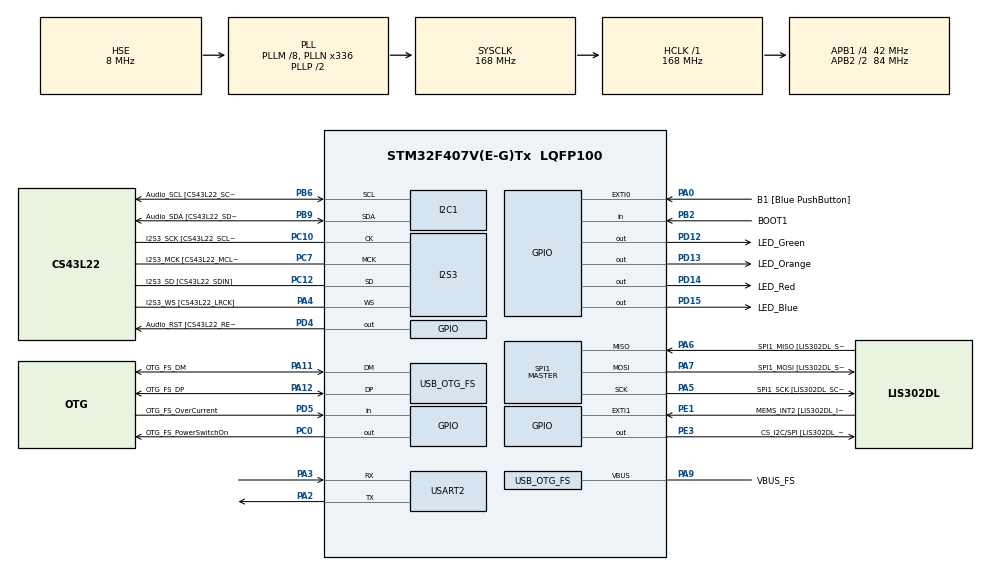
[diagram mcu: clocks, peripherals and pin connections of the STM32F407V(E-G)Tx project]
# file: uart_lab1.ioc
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I2S3.AudioFreq-Half_Duplex_Master=I2S_AUDIOFREQ_96K
I2S3.ErrorAudioFreq=-2.34 %
I2S3.ErrorAudioFreq-Half_Duplex_Master=0.8 %
I2S3.FullDuplexMode=I2S_FULLDUPLEXMODE_DISABLE
I2S3.Instance=SPI$Index
I2S3.RealAudioFreq=93.75 KHz
I2S3.RealAudioFreq-Half_Duplex_Master=96.774 KHz
I2S3.VirtualMode=I2S_MODE_MASTER
Mcu.Family=STM32F4
Mcu.Name=STM32F407V(E-G)Tx
Mcu.Package=LQFP100
NVIC.OTG_FS_IRQn=true\:0\:0\:false\:false\:true\:true\:true
NVIC.PriorityGroup=NVIC_PRIORITYGROUP_0
NVIC.TIM1_UP_TIM10_IRQn=true\:0\:0\:false\:false\:true\:true\:true
NVIC.USART2_IRQn=true\:0\:0\:false\:false\:true\:true\:true
PA0-WKUP.GPIO_Label=B1 [Blue PushButton]
PA0-WKUP.GPIO_ModeDefaultEXTI=GPIO_MODE_EVT_RISING
PA0-WKUP.GPIO_PuPd=GPIO_NOPULL
PA0-WKUP.Signal=GPXTI0
PA10.GPIO_Label=OTG_FS_ID
PA10.GPIO_Mode=GPIO_MODE_AF_PP
PA10.GPIO_PuPd=GPIO_NOPULL
PA10.GPIO_Speed=GPIO_SPEED_FREQ_LOW
PA10.Signal=USB_OTG_FS_ID
PA11.GPIO_Label=OTG_FS_DM
PA11.GPIO_Mode=GPIO_MODE_AF_PP
PA11.GPIO_PuPd=GPIO_NOPULL
PA11.GPIO_Speed=GPIO_SPEED_FREQ_LOW
PA11.Mode=Host_Only
PA11.Signal=USB_OTG_FS_DM
PA12.GPIO_Label=OTG_FS_DP
PA12.GPIO_Mode=GPIO_MODE_AF_PP
PA12.GPIO_PuPd=GPIO_NOPULL
PA12.GPIO_Speed=GPIO_SPEED_FREQ_LOW
PA12.Mode=Host_Only
PA12.Signal=USB_OTG_FS_DP
PA13.GPIO_Label=SWDIO
PA13.Mode=Serial_Wire
PA13.Signal=SYS_JTMS-SWDIO
PA14.GPIO_Label=SWCLK
PA14.Mode=Serial_Wire
PA14.Signal=SYS_JTCK-SWCLK
PA2.Mode=Asynchronous
PA2.Signal=USART2_TX
PA3.Mode=Asynchronous
PA3.Signal=USART2_RX
PA4.GPIO_Label=I2S3_WS [CS43L22_LRCK]
PA4.GPIO_Mode=GPIO_MODE_AF_PP
PA4.GPIO_PuPd=GPIO_NOPULL
PA4.GPIO_Speed=GPIO_SPEED_FREQ_LOW
PA4.Mode=Half_Duplex_Master
PA4.Signal=I2S3_WS
PA5.GPIO_Label=SPI1_SCK [LIS302DL_SCL/SPC]
PA5.GPIO_Mode=GPIO_MODE_AF_PP
PA5.GPIO_PuPd=GPIO_NOPULL
PA5.GPIO_Speed=GPIO_SPEED_FREQ_LOW
PA5.Mode=Full_Duplex_Master
PA5.Signal=SPI1_SCK
PA6.GPIO_Label=SPI1_MISO [LIS302DL_SDO]
PA6.GPIO_Mode=GPIO_MODE_AF_PP
PA6.GPIO_PuPd=GPIO_NOPULL
PA6.GPIO_Speed=GPIO_SPEED_FREQ_LOW
PA6.Mode=Full_Duplex_Master
PA6.Signal=SPI1_MISO
PA7.GPIO_Label=SPI1_MOSI [LIS302DL_SDA/SDI/SDO]
PA7.GPIO_Mode=GPIO_MODE_AF_PP
PA7.GPIO_PuPd=GPIO_NOPULL
PA7.GPIO_Speed=GPIO_SPEED_FREQ_LOW
PA7.Mode=Full_Duplex_Master
PA7.Signal=SPI1_MOSI
PA9.GPIO_Label=VBUS_FS
PA9.GPIO_Mode=GPIO_MODE_INPUT
PA9.GPIO_PuPd=GPIO_NOPULL
PA9.Mode=Activate_VBUS
PA9.Signal=USB_OTG_FS_VBUS
PB10.GPIO_Label=CLK_IN [MP45DT02_CLK]
PB10.GPIO_Mode=GPIO_MODE_AF_PP
PB10.GPIO_PuPd=GPIO_NOPULL
PB10.GPIO_Speed=GPIO_SPEED_FREQ_LOW
PB10.Signal=I2S2_CK
PB2.GPIO_Label=BOOT1
PB2.GPIO_Mode=GPIO_MODE_INPUT
PB2.GPIO_PuPd=GPIO_NOPULL
PB2.Signal=GPIO_Input
PB3.GPIO_Label=SWO
PB3.Signal=SYS_JTDO-SWO
PB6.GPIO_Label=Audio_SCL [CS43L22_SCL]
PB6.GPIO_Mode=GPIO_MODE_AF_OD
PB6.GPIO_PuPd=GPIO_NOPULL
PB6.GPIO_Speed=GPIO_SPEED_FREQ_LOW
PB6.Mode=I2C
PB6.Signal=I2C1_SCL
PB9.GPIO_Label=Audio_SDA [CS43L22_SDA]
PB9.GPIO_Mode=GPIO_MODE_AF_OD
PB9.GPIO_PuPd=GPIO_NOPULL
PB9.GPIO_Speed=GPIO_SPEED_FREQ_LOW
PB9.Mode=I2C
PB9.Signal=I2C1_SDA
PC0.GPIO_Label=OTG_FS_PowerSwitchOn
PC0.GPIO_PuPd=GPIO_NOPULL
PC0.GPIO_Speed=GPIO_SPEED_FREQ_LOW
PC0.PinState=GPIO_PIN_SET
PC0.Signal=GPIO_Output
PC10.GPIO_Label=I2S3_SCK [CS43L22_SCLK]
PC10.GPIO_Mode=GPIO_MODE_AF_PP
PC10.GPIO_PuPd=GPIO_NOPULL
PC10.GPIO_Speed=GPIO_SPEED_FREQ_LOW
PC10.Mode=Half_Duplex_Master
PC10.Signal=I2S3_CK
PC12.GPIO_Label=I2S3_SD [CS43L22_SDIN]
PC12.GPIO_Mode=GPIO_MODE_AF_PP
PC12.GPIO_PuPd=GPIO_NOPULL
PC12.GPIO_Speed=GPIO_SPEED_FREQ_LOW
PC12.Mode=Half_Duplex_Master
PC12.Signal=I2S3_SD
PC14-OSC32_IN.GPIO_Label=PC14-OSC32_IN
PC14-OSC32_IN.Mode=LSE-External-Oscillator
PC14-OSC32_IN.Signal=RCC_OSC32_IN
PC15-OSC32_OUT.GPIO_Label=PC15-OSC32_OUT
PC15-OSC32_OUT.Mode=LSE-External-Oscillator
PC15-OSC32_OUT.Signal=RCC_OSC32_OUT
PC3.GPIO_Label=PDM_OUT [MP45DT02_DOUT]
PC3.GPIO_Mode=GPIO_MODE_AF_PP
PC3.GPIO_PuPd=GPIO_NOPULL
PC3.GPIO_Speed=GPIO_SPEED_FREQ_LOW
PC3.Signal=I2S2_SD
PC7.GPIO_Label=I2S3_MCK [CS43L22_MCLK]
PC7.GPIO_Mode=GPIO_MODE_AF_PP
PC7.GPIO_PuPd=GPIO_NOPULL
PC7.GPIO_Speed=GPIO_SPEED_FREQ_LOW
PC7.Mode=Master_Clock_Activated
PC7.Signal=I2S3_MCK
PD12.GPIO_Label=LED_Green
PD12.GPIO_PuPd=GPIO_NOPULL
PD12.GPIO_Speed=GPIO_SPEED_FREQ_LOW
PD12.Signal=GPIO_Output
PD13.GPIO_Label=LED_Orange
PD13.GPIO_PuPd=GPIO_NOPULL
PD13.GPIO_Speed=GPIO_SPEED_FREQ_LOW
PD13.Signal=GPIO_Output
PD14.GPIO_Label=LED_Red
PD14.GPIO_PuPd=GPIO_NOPULL
PD14.GPIO_Speed=GPIO_SPEED_FREQ_LOW
PD14.Signal=GPIO_Output
PD15.GPIO_Label=LED_Blue
PD15.Signal=GPIO_Output
PD4.GPIO_Label=Audio_RST [CS43L22_RESET]
PD4.GPIO_PuPd=GPIO_NOPULL
PD4.GPIO_Speed=GPIO_SPEED_FREQ_LOW
PD4.Signal=GPIO_Output
PD5.GPIO_Label=OTG_FS_OverCurrent
PD5.GPIO_Mode=GPIO_MODE_INPUT
PD5.GPIO_PuPd=GPIO_NOPULL
PD5.Signal=GPIO_Input
PE1.GPIO_Label=MEMS_INT2 [LIS302DL_INT2]
PE1.GPIO_ModeDefaultEXTI=GPIO_MODE_EVT_RISING
PE1.GPIO_PuPd=GPIO_NOPULL
PE1.Signal=GPXTI1
PE3.GPIO_Label=CS_I2C/SPI [LIS302DL_CS_I2C/SPI]
PE3.GPIO_PuPd=GPIO_NOPULL
PE3.GPIO_Speed=GPIO_SPEED_FREQ_LOW
PE3.Signal=GPIO_Output
PH0-OSC_IN.GPIO_Label=PH0-OSC_IN
PH0-OSC_IN.Mode=HSE-External-Oscillator
PH0-OSC_IN.Signal=RCC_OSC_IN
PH1-OSC_OUT.GPIO_Label=PH1-OSC_OUT
PH1-OSC_OUT.Mode=HSE-External-Oscillator
PH1-OSC_OUT.Signal=RCC_OSC_OUT
ProjectManager.HeapSize=0x200
ProjectManager.StackSize=0x400
ProjectManager.TargetToolchain=STM32CubeIDE
RCC.48MHZClocksFreq_Value=48000000
RCC.AHBFreq_Value=168000000
RCC.APB1CLKDivider=RCC_HCLK_DIV4
RCC.APB1Freq_Value=42000000
RCC.APB1TimFreq_Value=84000000
RCC.APB2CLKDivider=RCC_HCLK_DIV2
RCC.APB2Freq_Value=84000000
RCC.APB2TimFreq_Value=168000000
RCC.CortexFreq_Value=168000000
RCC.HCLKFreq_Value=168000000
RCC.HSE_VALUE=8000000
RCC.HSI_VALUE=16000000
RCC.PLLM=8
RCC.PLLN=336
RCC.PLLQ=7
RCC.SYSCLKFreq_VALUE=168000000
RCC.SYSCLKSource=RCC_SYSCLKSOURCE_PLLCLK
RCC.VCOOutputFreq_Value=336000000
SPI1.BaudRatePrescaler-Full_Duplex_Master=SPI_BAUDRATEPRESCALER_2
SPI1.CalculateBaudRate-Full_Duplex_Master=42.0 MBits/s
SPI1.Direction=SPI_DIRECTION_2LINES
SPI1.Mode=SPI_MODE_MASTER
SPI1.Mode-Full_Duplex_Master=SPI_MODE_MASTER
SPI1.VirtualType=VM_MASTER
TIM10.AutoReloadPreload=TIM_AUTORELOAD_PRELOAD_ENABLE
TIM10.ClockDivision=TIM_CLOCKDIVISION_DIV4
TIM10.Period=33599
TIM10.Prescaler=999
USART2.VirtualMode=VM_ASYNC
USB_HOST.BSP.number=1
USB_HOST.USBH_HandleTypeDef-CDC_FS=hUsbHostFS
USB_HOST.VirtualModeFS=Cdc
USB_HOST0.BSP.STBoard=false
USB_HOST0.BSP.api=Unknown
USB_HOST0.BSP.i2caddr=0
USB_HOST0.BSP.i2creg=0
USB_HOST0.BSP.instance=PC0
USB_HOST0.BSP.ip=GPIO
USB_HOST0.BSP.mode=Output
USB_HOST0.BSP.name=Drive_VBUS_FS
USB_HOST0.BSP.solution=PC0
USB_OTG_FS.VirtualMode=Host_Only
USB_OTG_FS.phy_itface=HCD_PHY_EMBEDDED
VP_TIM10_VS_ClockSourceINT.Mode=Enable_Timer
VP_USB_HOST_VS_USB_HOST_CDC_FS.Mode=CDC_FS
board=STM32F407G-DISC1

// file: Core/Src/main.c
/* USER CODE BEGIN Header */
/**
  ******************************************************************************
  * @file           : main.c
  * @brief          : Main program body
  ******************************************************************************
  * @attention
  *
  * <h2><center>&copy; Copyright (c) 2021 STMicroelectronics.
  * All rights reserved.</center></h2>
  *
  * This software component is licensed by ST under Ultimate Liberty license
  * SLA0044, the "License"; You may not use this file except in compliance with
  * the License. You may obtain a copy of the License at:
  *                             www.st.com/SLA0044
  *
  ******************************************************************************
  */
/* USER CODE END Header */
#include "main.h"
#include "usb_host.h"

/* USER CODE BEGIN Includes */
#include <stdio.h>
#include <stdbool.h>
/* USER CODE END Includes */

I2C_HandleTypeDef hi2c1;

I2S_HandleTypeDef hi2s3;

SPI_HandleTypeDef hspi1;

TIM_HandleTypeDef htim10;

UART_HandleTypeDef huart2;

/* USER CODE BEGIN PV */
uint8_t timer_state=0;
uint8_t receive_flag=0;

//TX:
static uint16_t cnt = 0; // Licznik wyslanych wiadomosci
uint8_t data[200];// Tablica przechowujaca wysylana wiadomosc.
uint16_t size = 0; // Rozmiar wysylanej wiadomosci ++cnt; // Zwiekszenie licznika wyslanych wiadomosci.

//RX:
uint8_t Received[10];
uint8_t receive_data[150];

uint8_t data_buffer[10];
bool monitor_flag = false;

/* USER CODE END PV */

void SystemClock_Config(void);
static void MX_GPIO_Init(void);
static void MX_I2C1_Init(void);
static void MX_I2S3_Init(void);
static void MX_SPI1_Init(void);
static void MX_TIM10_Init(void);
static void MX_USART2_UART_Init(void);
void MX_USB_HOST_Process(void);

/* USER CODE BEGIN PFP */

void HAL_TIM_PeriodElapsedCallback(TIM_HandleTypeDef *htim){
	if(htim->Instance == TIM10){ // Jeżeli przerwanie pochodzi od timera 10
		timer_state=1;
	}
}

void HAL_UART_RxCpltCallback(UART_HandleTypeDef *huart) {

	receive_flag=1;

}

/* USER CODE END PFP */

int main(void)
{

  /* MCU Configuration--------------------------------------------------------*/

  /* Reset of all peripherals, Initializes the Flash interface and the Systick. */
  HAL_Init();

  /* Configure the system clock */
  SystemClock_Config();

  /* Initialize all configured peripherals */
  MX_GPIO_Init();
  MX_I2C1_Init();
  MX_I2S3_Init();
  MX_SPI1_Init();
  MX_USB_HOST_Init();
  MX_TIM10_Init();
  MX_USART2_UART_Init();
  /* USER CODE BEGIN 2 */
HAL_TIM_Base_Start_IT(&htim10);

HAL_UART_Receive_IT(&huart2, &Received, 1);

  /* USER CODE END 2 */

  /* Infinite loop */
  /* USER CODE BEGIN WHILE */
  while (1)
  {

	  if(timer_state==1)
	  {
			 ++cnt; // Zwiekszenie licznika wyslanych wiadomosci.
			 size = sprintf(data, "						message nr: %d.\n\r", cnt); // Stworzenie wiadomosci do wyslania oraz przypisanie ilosci wysylanych znakow do zmiennej size.
			 if(monitor_flag==true)
			 {
			 HAL_UART_Transmit_IT(&huart2, data, size); // Rozpoczecie nadawania danych z wykorzystaniem przerwan
			 }

			 HAL_GPIO_TogglePin(LED_Green_GPIO_Port, LED_Green_Pin); // Zmiana stanu pinu na diodzie LED
			 timer_state=0;
	  }

	  if(receive_flag==1)
	  {

		    static uint8_t i=0;
		  	uint16_t size = 0; // Rozmiar wysylanej wiadomosci

			//size = sprintf(receive_data, "%s",Received);
			if (Received[0] == 13 || Received[0]== 10)
			{
			size = sprintf(receive_data, "\n\r>>");
			i=0;

				if(data_buffer[0]=='h' && data_buffer[1]=='e' && data_buffer[2]=='l' && data_buffer[3]=='p')
				{
					size = sprintf(data,"\r\n s - show terminal monitor\r\n e - hide terminal monitor\r\n rlon - turns red led on\r\n rloff - turns led red off\r\n blon - turns blue led on\r\n bloff - turns blue led off\r\n olon - turns orange led on\r\n oloff - turns orange led off\r\n");
					HAL_UART_Transmit_IT(&huart2, data, size);

				}

				else if(data_buffer[0]=='r' && data_buffer[1]=='l' && data_buffer[2]=='o' && data_buffer[3]=='n')
				{
					HAL_GPIO_WritePin(LED_Red_GPIO_Port, LED_Red_Pin, SET);
					size = sprintf(data,"\r\nred led turned ON\r\n");
					HAL_UART_Transmit_IT(&huart2, data, size);

				}

				else if(data_buffer[0]=='r' && data_buffer[1]=='l' && data_buffer[2]=='o' && data_buffer[3]=='f' && data_buffer[4]=='f')
				{
					HAL_GPIO_WritePin(LED_Red_GPIO_Port, LED_Red_Pin, RESET);
					size = sprintf(data,"\r\nred led turned OFF\r\n");
					HAL_UART_Transmit_IT(&huart2, data, size);

				}

				else if(data_buffer[0]=='o' && data_buffer[1]=='l' && data_buffer[2]=='o' && data_buffer[3]=='n')
				{
					HAL_GPIO_WritePin(LED_Orange_GPIO_Port, LED_Orange_Pin, SET);
					size = sprintf(data,"\r\norange led turned ON\r\n");
					HAL_UART_Transmit_IT(&huart2, data, size);

				}

				else if(data_buffer[0]=='o' && data_buffer[1]=='l' && data_buffer[2]=='o' && data_buffer[3]=='f' && data_buffer[4]=='f')
				{
					HAL_GPIO_WritePin(LED_Orange_GPIO_Port, LED_Orange_Pin, RESET);
					size = sprintf(data,"\r\norange led turned OFF\r\n");
					HAL_UART_Transmit_IT(&huart2, data, size);

				}

				else if(data_buffer[0]=='b' && data_buffer[1]=='l' && data_buffer[2]=='o' && data_buffer[3]=='n')
				{
					HAL_GPIO_WritePin(LED_Blue_GPIO_Port, LED_Blue_Pin, SET);
					size = sprintf(data,"\r\nblue led turned ON\r\n");
					HAL_UART_Transmit_IT(&huart2, data, size);

				}

				else if(data_buffer[0]=='b' && data_buffer[1]=='l' && data_buffer[2]=='o' && data_buffer[3]=='f' && data_buffer[4]=='f')
				{
					HAL_GPIO_WritePin(LED_Blue_GPIO_Port, LED_Blue_Pin, RESET);
					size = sprintf(data,"\r\nblue led turned OFF\r\n");
					HAL_UART_Transmit_IT(&huart2, data, size);

				}
				else if(data_buffer[0]=='s' && data_buffer[1]== 0)
				{
					monitor_flag = true;

				}

				else if(data_buffer[0]=='e'&& data_buffer[1]== 0)
				{
					monitor_flag = false;

				}
				else
				{
					if(data_buffer[0]!=0)
					{
						size = sprintf(data,"\r\nWRONG COMMAND!!!\r\n");
						HAL_UART_Transmit_IT(&huart2, data, size);

					}
				}

				data_buffer[0]=0;
				data_buffer[1]=0;
				data_buffer[2]=0;
				data_buffer[3]=0;
				data_buffer[4]=0;
			}

			else
			{
			size = sprintf(receive_data, "%s",Received);

			data_buffer[i]=receive_data[0];
			i++;

			for(int j=0;j<i;j++)
			{
				if(data_buffer[j]==0x7f)
				{
				i=j-1;
				}

			}

			}

			HAL_UART_Transmit_IT(&huart2, receive_data, size); // Rozpoczecie nadawania danych z wykorzystaniem przerwan
			HAL_UART_Receive_IT(&huart2, &Received, 1); // Ponowne włączenie nasłuchiwania

			receive_flag=0;

	  }

    /* USER CODE END WHILE */
    MX_USB_HOST_Process();

  }
}

void SystemClock_Config(void)
{
  RCC_OscInitTypeDef RCC_OscInitStruct = {0};
  RCC_ClkInitTypeDef RCC_ClkInitStruct = {0};
  RCC_PeriphCLKInitTypeDef PeriphClkInitStruct = {0};

  /** Configure the main internal regulator output voltage
  */
  __HAL_RCC_PWR_CLK_ENABLE();
  __HAL_PWR_VOLTAGESCALING_CONFIG(PWR_REGULATOR_VOLTAGE_SCALE1);
  /** Initializes the RCC Oscillators according to the specified parameters
  * in the RCC_OscInitTypeDef structure.
  */
  RCC_OscInitStruct.OscillatorType = RCC_OSCILLATORTYPE_HSE;
  RCC_OscInitStruct.HSEState = RCC_HSE_ON;
  RCC_OscInitStruct.PLL.PLLState = RCC_PLL_ON;
  RCC_OscInitStruct.PLL.PLLSource = RCC_PLLSOURCE_HSE;
  RCC_OscInitStruct.PLL.PLLM = 8;
  RCC_OscInitStruct.PLL.PLLN = 336;
  RCC_OscInitStruct.PLL.PLLP = RCC_PLLP_DIV2;
  RCC_OscInitStruct.PLL.PLLQ = 7;
  if (HAL_RCC_OscConfig(&RCC_OscInitStruct) != HAL_OK)
  {
    Error_Handler();
  }
  /** Initializes the CPU, AHB and APB buses clocks
  */
  RCC_ClkInitStruct.ClockType = RCC_CLOCKTYPE_HCLK|RCC_CLOCKTYPE_SYSCLK
                              |RCC_CLOCKTYPE_PCLK1|RCC_CLOCKTYPE_PCLK2;
  RCC_ClkInitStruct.SYSCLKSource = RCC_SYSCLKSOURCE_PLLCLK;
  RCC_ClkInitStruct.AHBCLKDivider = RCC_SYSCLK_DIV1;
  RCC_ClkInitStruct.APB1CLKDivider = RCC_HCLK_DIV4;
  RCC_ClkInitStruct.APB2CLKDivider = RCC_HCLK_DIV2;

  if (HAL_RCC_ClockConfig(&RCC_ClkInitStruct, FLASH_LATENCY_5) != HAL_OK)
  {
    Error_Handler();
  }
  PeriphClkInitStruct.PeriphClockSelection = RCC_PERIPHCLK_I2S;
  PeriphClkInitStruct.PLLI2S.PLLI2SN = 192;
  PeriphClkInitStruct.PLLI2S.PLLI2SR = 2;
  if (HAL_RCCEx_PeriphCLKConfig(&PeriphClkInitStruct) != HAL_OK)
  {
    Error_Handler();
  }
}

static void MX_I2C1_Init(void)
{

  hi2c1.Instance = I2C1;
  hi2c1.Init.ClockSpeed = 100000;
  hi2c1.Init.DutyCycle = I2C_DUTYCYCLE_2;
  hi2c1.Init.OwnAddress1 = 0;
  hi2c1.Init.AddressingMode = I2C_ADDRESSINGMODE_7BIT;
  hi2c1.Init.DualAddressMode = I2C_DUALADDRESS_DISABLE;
  hi2c1.Init.OwnAddress2 = 0;
  hi2c1.Init.GeneralCallMode = I2C_GENERALCALL_DISABLE;
  hi2c1.Init.NoStretchMode = I2C_NOSTRETCH_DISABLE;
  if (HAL_I2C_Init(&hi2c1) != HAL_OK)
  {
    Error_Handler();
  }

}

static void MX_I2S3_Init(void)
{

  hi2s3.Instance = SPI3;
  hi2s3.Init.Mode = I2S_MODE_MASTER_TX;
  hi2s3.Init.Standard = I2S_STANDARD_PHILIPS;
  hi2s3.Init.DataFormat = I2S_DATAFORMAT_16B;
  hi2s3.Init.MCLKOutput = I2S_MCLKOUTPUT_ENABLE;
  hi2s3.Init.AudioFreq = I2S_AUDIOFREQ_96K;
  hi2s3.Init.CPOL = I2S_CPOL_LOW;
  hi2s3.Init.ClockSource = I2S_CLOCK_PLL;
  hi2s3.Init.FullDuplexMode = I2S_FULLDUPLEXMODE_DISABLE;
  if (HAL_I2S_Init(&hi2s3) != HAL_OK)
  {
    Error_Handler();
  }

}

static void MX_SPI1_Init(void)
{

  /* SPI1 parameter configuration*/
  hspi1.Instance = SPI1;
  hspi1.Init.Mode = SPI_MODE_MASTER;
  hspi1.Init.Direction = SPI_DIRECTION_2LINES;
  hspi1.Init.DataSize = SPI_DATASIZE_8BIT;
  hspi1.Init.CLKPolarity = SPI_POLARITY_LOW;
  hspi1.Init.CLKPhase = SPI_PHASE_1EDGE;
  hspi1.Init.NSS = SPI_NSS_SOFT;
  hspi1.Init.BaudRatePrescaler = SPI_BAUDRATEPRESCALER_2;
  hspi1.Init.FirstBit = SPI_FIRSTBIT_MSB;
  hspi1.Init.TIMode = SPI_TIMODE_DISABLE;
  hspi1.Init.CRCCalculation = SPI_CRCCALCULATION_DISABLE;
  hspi1.Init.CRCPolynomial = 10;
  if (HAL_SPI_Init(&hspi1) != HAL_OK)
  {
    Error_Handler();
  }

}

static void MX_TIM10_Init(void)
{

  htim10.Instance = TIM10;
  htim10.Init.Prescaler = 999;
  htim10.Init.CounterMode = TIM_COUNTERMODE_UP;
  htim10.Init.Period = 33599;
  htim10.Init.ClockDivision = TIM_CLOCKDIVISION_DIV4;
  htim10.Init.AutoReloadPreload = TIM_AUTORELOAD_PRELOAD_ENABLE;
  if (HAL_TIM_Base_Init(&htim10) != HAL_OK)
  {
    Error_Handler();
  }

}

static void MX_USART2_UART_Init(void)
{

  huart2.Instance = USART2;
  huart2.Init.BaudRate = 115200;
  huart2.Init.WordLength = UART_WORDLENGTH_8B;
  huart2.Init.StopBits = UART_STOPBITS_1;
  huart2.Init.Parity = UART_PARITY_NONE;
  huart2.Init.Mode = UART_MODE_TX_RX;
  huart2.Init.HwFlowCtl = UART_HWCONTROL_NONE;
  huart2.Init.OverSampling = UART_OVERSAMPLING_16;
  if (HAL_UART_Init(&huart2) != HAL_OK)
  {
    Error_Handler();
  }

}

static void MX_GPIO_Init(void)
{
  GPIO_InitTypeDef GPIO_InitStruct = {0};

  /* GPIO Ports Clock Enable */
  __HAL_RCC_GPIOE_CLK_ENABLE();
  __HAL_RCC_GPIOC_CLK_ENABLE();
  __HAL_RCC_GPIOH_CLK_ENABLE();
  __HAL_RCC_GPIOA_CLK_ENABLE();
  __HAL_RCC_GPIOB_CLK_ENABLE();
  __HAL_RCC_GPIOD_CLK_ENABLE();

  /*Configure GPIO pin Output Level */
  HAL_GPIO_WritePin(CS_I2C_SPI_GPIO_Port, CS_I2C_SPI_Pin, GPIO_PIN_RESET);

  /*Configure GPIO pin Output Level */
  HAL_GPIO_WritePin(OTG_FS_PowerSwitchOn_GPIO_Port, OTG_FS_PowerSwitchOn_Pin, GPIO_PIN_SET);

  /*Configure GPIO pin Output Level */
  HAL_GPIO_WritePin(GPIOD, LED_Green_Pin|LED_Orange_Pin|LED_Red_Pin|LED_Blue_Pin
                          |Audio_RST_Pin, GPIO_PIN_RESET);

  /*Configure GPIO pin : CS_I2C_SPI_Pin */
  GPIO_InitStruct.Pin = CS_I2C_SPI_Pin;
  GPIO_InitStruct.Mode = GPIO_MODE_OUTPUT_PP;
  GPIO_InitStruct.Pull = GPIO_NOPULL;
  GPIO_InitStruct.Speed = GPIO_SPEED_FREQ_LOW;
  HAL_GPIO_Init(CS_I2C_SPI_GPIO_Port, &GPIO_InitStruct);

  /*Configure GPIO pin : OTG_FS_PowerSwitchOn_Pin */
  GPIO_InitStruct.Pin = OTG_FS_PowerSwitchOn_Pin;
  GPIO_InitStruct.Mode = GPIO_MODE_OUTPUT_PP;
  GPIO_InitStruct.Pull = GPIO_NOPULL;
  GPIO_InitStruct.Speed = GPIO_SPEED_FREQ_LOW;
  HAL_GPIO_Init(OTG_FS_PowerSwitchOn_GPIO_Port, &GPIO_InitStruct);

  /*Configure GPIO pin : PDM_OUT_Pin */
  GPIO_InitStruct.Pin = PDM_OUT_Pin;
  GPIO_InitStruct.Mode = GPIO_MODE_AF_PP;
  GPIO_InitStruct.Pull = GPIO_NOPULL;
  GPIO_InitStruct.Speed = GPIO_SPEED_FREQ_LOW;
  GPIO_InitStruct.Alternate = GPIO_AF5_SPI2;
  HAL_GPIO_Init(PDM_OUT_GPIO_Port, &GPIO_InitStruct);

  /*Configure GPIO pin : B1_Pin */
  GPIO_InitStruct.Pin = B1_Pin;
  GPIO_InitStruct.Mode = GPIO_MODE_EVT_RISING;
  GPIO_InitStruct.Pull = GPIO_NOPULL;
  HAL_GPIO_Init(B1_GPIO_Port, &GPIO_InitStruct);

  /*Configure GPIO pin : BOOT1_Pin */
  GPIO_InitStruct.Pin = BOOT1_Pin;
  GPIO_InitStruct.Mode = GPIO_MODE_INPUT;
  GPIO_InitStruct.Pull = GPIO_NOPULL;
  HAL_GPIO_Init(BOOT1_GPIO_Port, &GPIO_InitStruct);

  /*Configure GPIO pin : CLK_IN_Pin */
  GPIO_InitStruct.Pin = CLK_IN_Pin;
  GPIO_InitStruct.Mode = GPIO_MODE_AF_PP;
  GPIO_InitStruct.Pull = GPIO_NOPULL;
  GPIO_InitStruct.Speed = GPIO_SPEED_FREQ_LOW;
  GPIO_InitStruct.Alternate = GPIO_AF5_SPI2;
  HAL_GPIO_Init(CLK_IN_GPIO_Port, &GPIO_InitStruct);

  /*Configure GPIO pins : LED_Green_Pin LED_Orange_Pin LED_Red_Pin LED_Blue_Pin
                           Audio_RST_Pin */
  GPIO_InitStruct.Pin = LED_Green_Pin|LED_Orange_Pin|LED_Red_Pin|LED_Blue_Pin
                          |Audio_RST_Pin;
  GPIO_InitStruct.Mode = GPIO_MODE_OUTPUT_PP;
  GPIO_InitStruct.Pull = GPIO_NOPULL;
  GPIO_InitStruct.Speed = GPIO_SPEED_FREQ_LOW;
  HAL_GPIO_Init(GPIOD, &GPIO_InitStruct);

  /*Configure GPIO pin : OTG_FS_OverCurrent_Pin */
  GPIO_InitStruct.Pin = OTG_FS_OverCurrent_Pin;
  GPIO_InitStruct.Mode = GPIO_MODE_INPUT;
  GPIO_InitStruct.Pull = GPIO_NOPULL;
  HAL_GPIO_Init(OTG_FS_OverCurrent_GPIO_Port, &GPIO_InitStruct);

  /*Configure GPIO pin : MEMS_INT2_Pin */
  GPIO_InitStruct.Pin = MEMS_INT2_Pin;
  GPIO_InitStruct.Mode = GPIO_MODE_EVT_RISING;
  GPIO_InitStruct.Pull = GPIO_NOPULL;
  HAL_GPIO_Init(MEMS_INT2_GPIO_Port, &GPIO_InitStruct);

}

void Error_Handler(void)
{
  __disable_irq();
  while (1)
  {
  }
}

/************************ (C) COPYRIGHT STMicroelectronics *****END OF FILE****/
